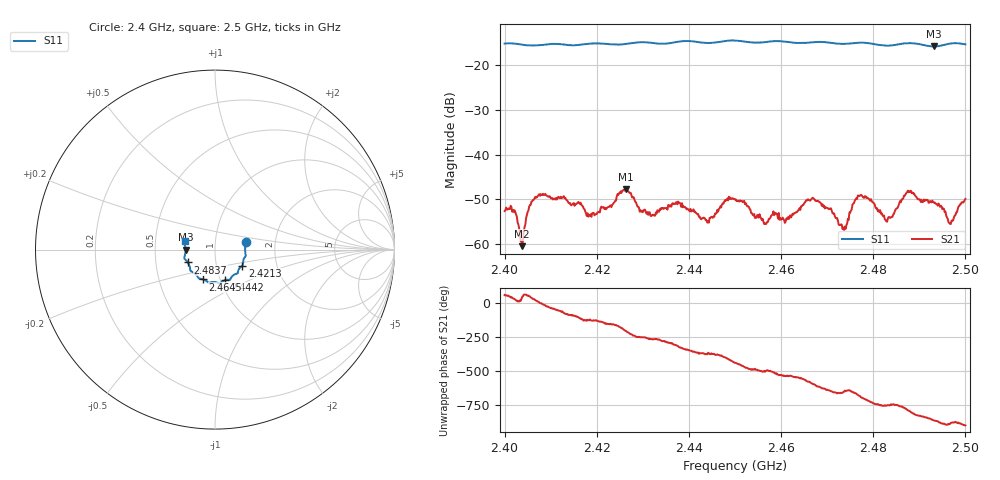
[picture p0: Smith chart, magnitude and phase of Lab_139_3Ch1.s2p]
# Hz S RI R 50
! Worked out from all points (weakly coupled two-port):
!   601 points, 2.4 GHz to 2.5 GHz, reference 50 ohm
!   highest |S21| = -47.78 dB at 2.4263 GHz (marker M1); lowest = -60.6 dB at 2.4038 GHz (marker M2)
!   lowest |S11| = -15.7 dB at 2.4932 GHz (marker M3), VSWR 1.39, Z = 35.9 - j0.0625 ohm
!   |S11| at or under -10 dB: start of sweep to end of sweep
!   S12 and S22 are empty: the file has one direction only
!   S11 on the Smith chart (normalised r, x): 2.4 GHz: 1.41, +0.12; 2.4213 GHz: 1.33, -0.25; 2.4442 GHz: 1.05, -0.37; 2.4645 GHz: 0.83, -0.29; 2.4837 GHz: 0.73, -0.11; 2.5 GHz: 0.71, +0.07
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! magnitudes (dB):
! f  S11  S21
! 2.4 GHz  -15.1  -52.7
! 2.4018 GHz  -15.0  -52.4
! 2.4038 GHz  -15.3  -60.6
! 2.407 GHz  -15.5  -49.6
! 2.4167 GHz  -15.3  -51.3
! 2.4213 GHz  -15.1  -51.8
! 2.4263 GHz  -15.2  -47.8
! 2.4333 GHz  -15.1  -52.7
! 2.4377 GHz  -14.7  -50.5
! 2.4442 GHz  -15.0  -55.0
! 2.45 GHz  -14.4  -50.1
! 2.4567 GHz  -14.7  -55.6
! 2.4645 GHz  -15.0  -51.6
! 2.4667 GHz  -14.8  -49.9
! 2.4735 GHz  -15.1  -56.4
! 2.4772 GHz  -14.9  -49.2
! 2.4833 GHz  -15.6  -54.0
! 2.4837 GHz  -15.5  -54.2
! 2.4877 GHz  -15.0  -48.5
! 2.4932 GHz  -15.7  -50.8
! 2.4968 GHz  -15.1  -55.6
! 2.5 GHz  -15.3  -50.0
